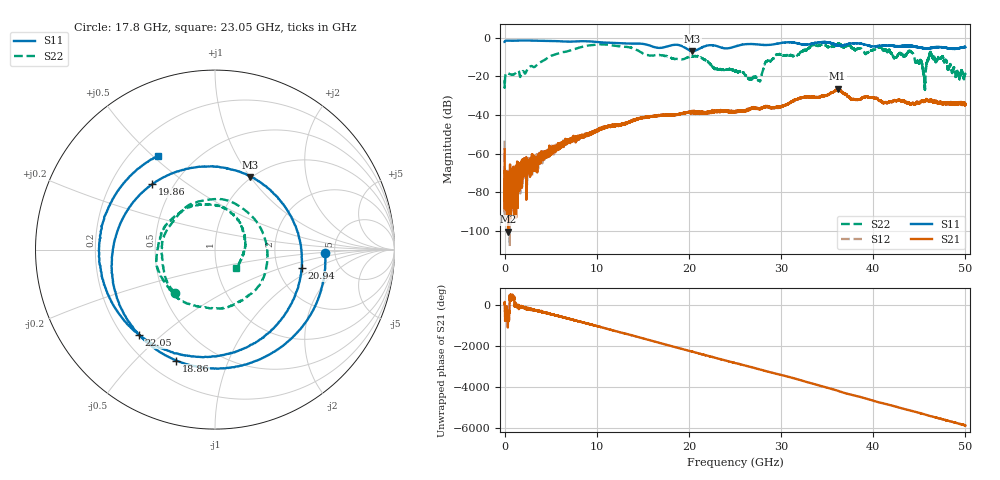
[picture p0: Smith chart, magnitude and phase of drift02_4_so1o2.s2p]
!Created with skrf (http://scikit-rf.org).
# Hz S RI R 50.0
!freq ReS11 ImS11 ReS21 ImS21 ReS12 ImS12 ReS22 ImS22
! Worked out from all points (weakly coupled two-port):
!   10001 points, 300 kHz to 50 GHz, reference 50 ohm
!   highest |S21| = -26.32 dB at 36.14 GHz (marker M1); lowest = -100.6 dB at 380.3 MHz (marker M2)
!   lowest |S11| = -6.9 dB at 20.36 GHz (marker M3), VSWR 2.63, Z = 49.2 + j49.9 ohm
!   |S11| at or under -10 dB: nowhere
!   |S22| runs from -27.0 to -2.8 dB; largest |S21 - S12| = 0.0051
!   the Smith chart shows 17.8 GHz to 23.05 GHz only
!   S11 on the Smith chart (normalised r, x): 17.8 GHz: 4.16, -0.24; 18.86 GHz: 0.31, -0.67; 19.86 GHz: 0.38, +0.37; 20.94 GHz: 2.72, -0.74; 22.05 GHz: 0.26, -0.42; 23.05 GHz: 0.31, +0.52
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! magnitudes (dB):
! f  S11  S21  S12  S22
! 300 kHz  -2.1  -57.8  -53.3  -21.9
! 380.3 MHz  -1.4  -100.6  -68.9  -18.3
! 2.245 GHz  -1.3  -72.0  -64.8  -18.5
! 8.335 GHz  -1.7  -51.5  -51.2  -4.8
! 16.67 GHz  -5.2  -40.3  -40.3  -8.9
! 17.8 GHz  -4.2  -40.1  -40.0  -9.7
! 18.86 GHz  -3.7  -39.6  -39.7  -11.0
! 19.86 GHz  -5.9  -38.8  -38.6  -10.1
! 20.36 GHz  -6.9  -38.4  -38.5  -9.7
! 20.94 GHz  -6.1  -38.4  -38.4  -9.5
! 22.05 GHz  -3.9  -38.8  -38.5  -12.4
! 23.05 GHz  -4.3  -38.1  -37.9  -16.1
! 25 GHz  -4.5  -38.1  -38.2  -17.3
! 27.61 GHz  -3.5  -36.8  -36.6  -22.1
! 28.5 GHz  -3.7  -35.6  -35.6  -12.0
! 33.34 GHz  -3.0  -30.6  -30.6  -3.7
! 36.14 GHz  -3.9  -26.3  -27.0  -3.0
! 41.67 GHz  -4.0  -33.3  -33.4  -6.2
! 44.12 GHz  -4.2  -34.3  -34.4  -7.3
! 45.51 GHz  -5.3  -33.0  -32.9  -18.7
! 46.25 GHz  -5.3  -32.2  -32.5  -8.0
! 50 GHz  -4.8  -34.6  -34.4  -18.6
